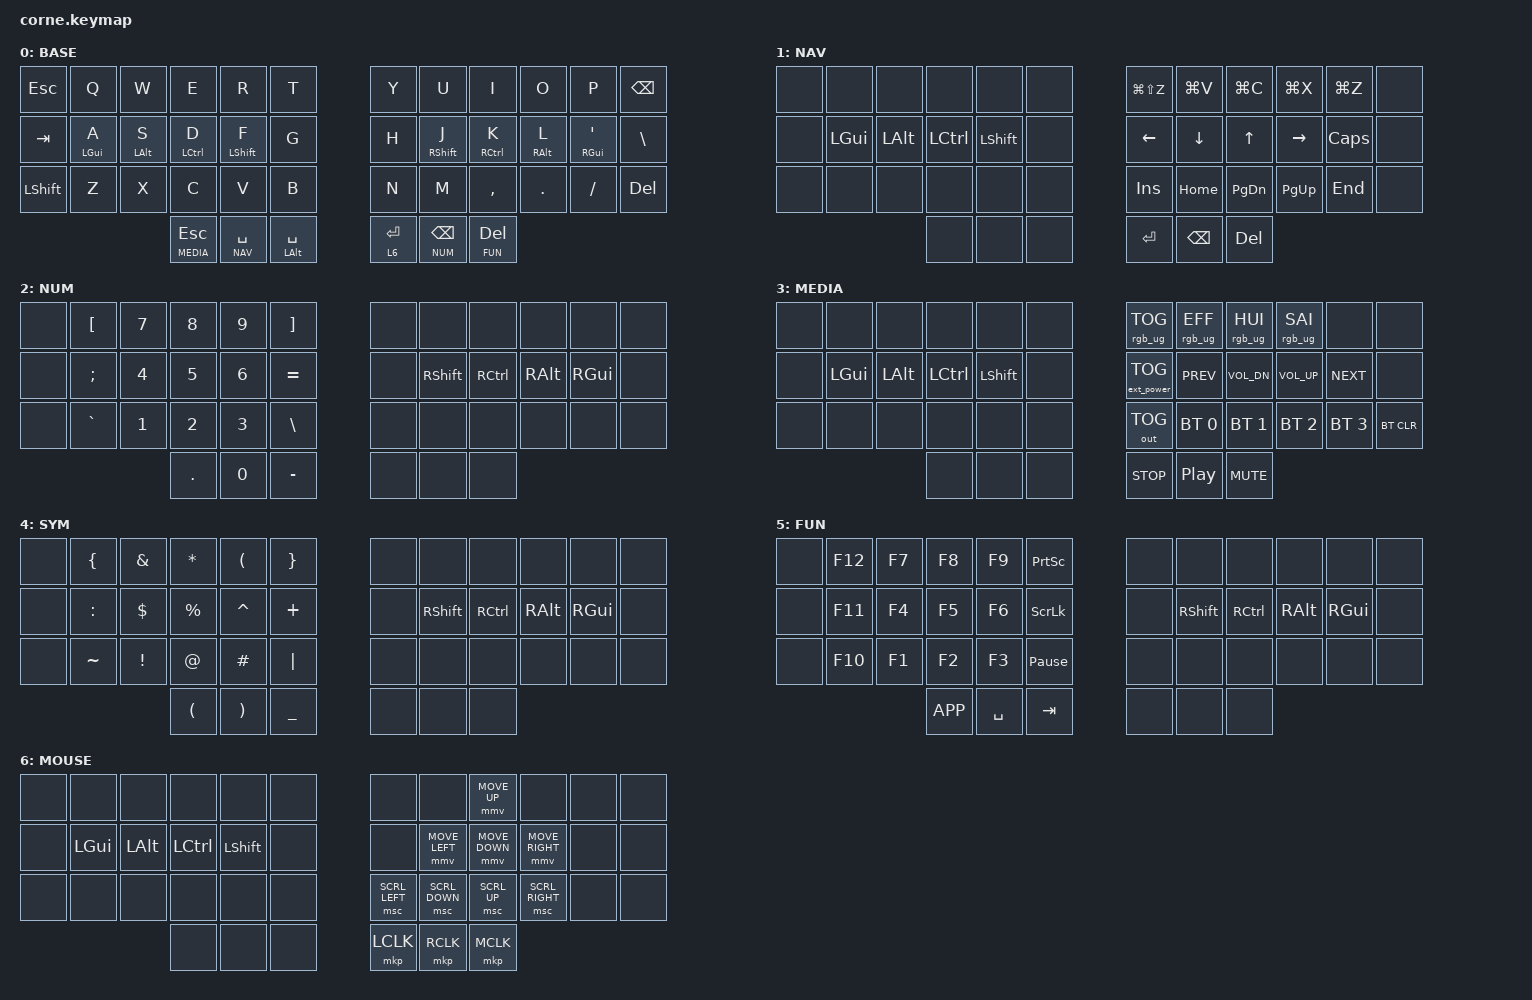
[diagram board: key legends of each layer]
/*
 * Copyright (c) 2020 The ZMK Contributors
 *
 * SPDX-License-Identifier: MIT
 */
//
//   Miryoku-style layout — QWERTY base, vim arrows (HJKL), GACS home row mods
//   Adapted from TOTEM config for Corne (42-key)
//
//   Layer 0: BASE    — QWERTY + home row mods
//   Layer 1: NAV     — vim arrows, clipboard, nav (hold SPACE)
//   Layer 2: NUM     — numpad left hand (hold BSPC)
//   Layer 3: MEDIA   — media, BT, RGB (hold ESC)
//   Layer 4: SYM     — symbols left hand (hold ENTER)
//   Layer 5: FUN     — function keys left hand (hold DEL)
//   Layer 6: MOUSE   — mouse movement, scroll, buttons (hold TAB)

#include <behaviors.dtsi>
#include <dt-bindings/zmk/bt.h>
#include <dt-bindings/zmk/ext_power.h>
#include <dt-bindings/zmk/keys.h>
#include <dt-bindings/zmk/outputs.h>
#include <dt-bindings/zmk/pointing.h>
#include <dt-bindings/zmk/rgb.h>

#define BASE  0
#define NAV   1
#define NUM   2
#define MEDIA 3
#define SYM   4
#define FUN   5
#define MOUSE 6

// Corne key positions (42 keys):
// Row 0:  0  1  2  3  4  5    6  7  8  9  10  11
// Row 1: 12 13 14 15 16 17   18 19 20 21  22  23
// Row 2: 24 25 26 27 28 29   30 31 32 33  34  35
// Thumb:          36 37 38   39 40 41

&mt {
    flavor = "tap-preferred";
    tapping-term-ms = <200>;
    quick-tap-ms = <175>;
    require-prior-idle-ms = <150>;
};

&lt {
    flavor = "balanced";
    tapping-term-ms = <200>;
    quick-tap-ms = <175>;
};

/ {
    combos {
        compatible = "zmk,combos";

        // -- Tier 1: Essential --
        // -- Tier 2: High Value --
        // -- Tier 3: Vertical Symbol Combos --
    };

    keymap {
        compatible = "zmk,keymap";

        base_layer {
            display-name = "BASE";
            bindings = <
&kp ESCAPE      &kp Q       &kp W       &kp E          &kp R          &kp T               &kp Y      &kp U         &kp I        &kp O       &kp P         &kp BSPC
&kp TAB         &mt LGUI A  &mt LALT S  &mt LCTRL D    &mt LSHFT F    &kp G               &kp H      &mt RSHFT J   &mt RCTRL K  &mt RALT L  &mt RGUI SQT  &kp BSLH
&kp LEFT_SHIFT  &kp Z       &kp X       &kp C          &kp V          &kp B               &kp N      &kp M         &kp COMMA    &kp DOT     &kp FSLH      &kp DEL
                                        &lt MEDIA ESC  &lt NAV SPACE  &mt LEFT_ALT SPACE  &lt 6 RET  &lt NUM BSPC  &lt FUN DEL
            >;
        };

        nav_layer {
            display-name = "NAV";
            bindings = <
&none  &none     &none     &none      &none      &none  &kp LG(LS(Z))  &kp LG(V)  &kp LG(C)  &kp LG(X)  &kp LG(Z)  &none
&none  &kp LGUI  &kp LALT  &kp LCTRL  &kp LSHFT  &none  &kp LEFT       &kp DOWN   &kp UP     &kp RIGHT  &kp CAPS   &none
&none  &none     &none     &none      &none      &none  &kp INS        &kp HOME   &kp PG_DN  &kp PG_UP  &kp END    &none
                           &none      &none      &none  &kp RET        &kp BSPC   &kp DEL
            >;
        };

        num_layer {
            display-name = "NUM";
            bindings = <
&none  &kp LBKT   &kp N7  &kp N8   &kp N9  &kp RBKT   &none  &none      &none      &none     &none     &none
&none  &kp SEMI   &kp N4  &kp N5   &kp N6  &kp EQUAL  &none  &kp RSHFT  &kp RCTRL  &kp RALT  &kp RGUI  &none
&none  &kp GRAVE  &kp N1  &kp N2   &kp N3  &kp BSLH   &none  &none      &none      &none     &none     &none
                          &kp DOT  &kp N0  &kp MINUS  &none  &none      &none
            >;
        };

        media_layer {
            display-name = "MEDIA";
            bindings = <
&none  &none     &none     &none      &none      &none  &rgb_ug RGB_TOG    &rgb_ug RGB_EFF  &rgb_ug RGB_HUI  &rgb_ug RGB_SAI  &none         &none
&none  &kp LGUI  &kp LALT  &kp LCTRL  &kp LSHFT  &none  &ext_power EP_TOG  &kp C_PREV       &kp C_VOL_DN     &kp C_VOL_UP     &kp C_NEXT    &none
&none  &none     &none     &none      &none      &none  &out OUT_TOG       &bt BT_SEL 0     &bt BT_SEL 1     &bt BT_SEL 2     &bt BT_SEL 3  &bt BT_CLR
                           &none      &none      &none  &kp C_STOP         &kp C_PP         &kp C_MUTE
            >;
        };

        sym_layer {
            display-name = "SYM";
            bindings = <
&none  &kp LBRC   &kp AMPS  &kp ASTRK  &kp LPAR   &kp RBRC   &none  &none      &none      &none     &none     &none
&none  &kp COLON  &kp DLLR  &kp PRCNT  &kp CARET  &kp PLUS   &none  &kp RSHFT  &kp RCTRL  &kp RALT  &kp RGUI  &none
&none  &kp TILDE  &kp EXCL  &kp AT     &kp HASH   &kp PIPE   &none  &none      &none      &none     &none     &none
                            &kp LPAR   &kp RPAR   &kp UNDER  &none  &none      &none
            >;
        };

        fun_layer {
            display-name = "FUN";
            bindings = <
&none  &kp F12  &kp F7  &kp F8     &kp F9     &kp PSCRN        &none  &none      &none      &none     &none     &none
&none  &kp F11  &kp F4  &kp F5     &kp F6     &kp SLCK         &none  &kp RSHFT  &kp RCTRL  &kp RALT  &kp RGUI  &none
&none  &kp F10  &kp F1  &kp F2     &kp F3     &kp PAUSE_BREAK  &none  &none      &none      &none     &none     &none
                        &kp K_APP  &kp SPACE  &kp TAB          &none  &none      &none
            >;
        };

        mouse_layer {
            display-name = "MOUSE";
            bindings = <
&none  &none     &none     &none      &none      &none  &none           &none           &mmv MOVE_UP    &none            &none  &none
&none  &kp LGUI  &kp LALT  &kp LCTRL  &kp LSHFT  &none  &none           &mmv MOVE_LEFT  &mmv MOVE_DOWN  &mmv MOVE_RIGHT  &none  &none
&none  &none     &none     &none      &none      &none  &msc SCRL_LEFT  &msc SCRL_DOWN  &msc SCRL_UP    &msc SCRL_RIGHT  &none  &none
                           &none      &none      &none  &mkp LCLK       &mkp RCLK       &mkp MCLK
            >;
        };
    };
};
